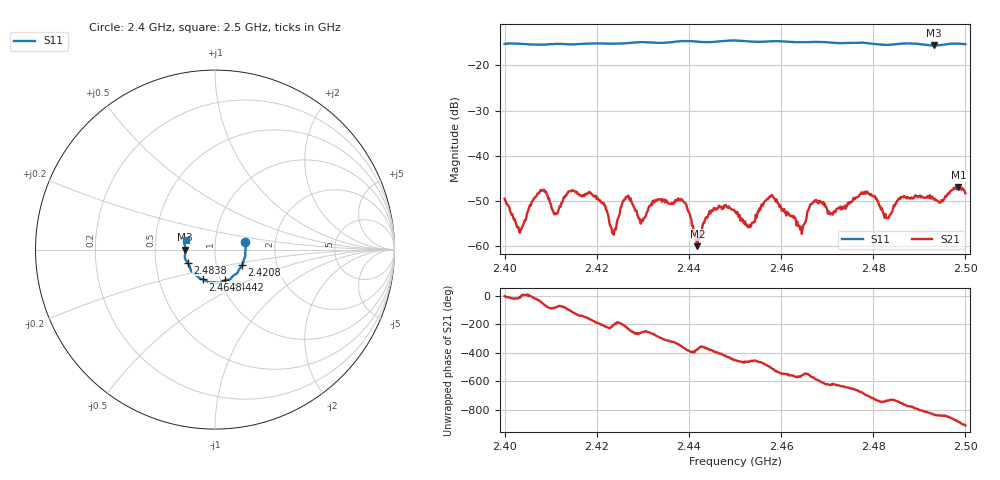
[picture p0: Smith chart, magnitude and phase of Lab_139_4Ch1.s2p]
# Hz S RI R 50
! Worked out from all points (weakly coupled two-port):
!   601 points, 2.4 GHz to 2.5 GHz, reference 50 ohm
!   highest |S21| = -47.01 dB at 2.4985 GHz (marker M1); lowest = -60.0 dB at 2.4418 GHz (marker M2)
!   lowest |S11| = -15.6 dB at 2.4932 GHz (marker M3), VSWR 1.40, Z = 35.8 - j0.082 ohm
!   |S11| at or under -10 dB: start of sweep to end of sweep
!   S12 and S22 are empty: the file has one direction only
!   S11 on the Smith chart (normalised r, x): 2.4 GHz: 1.40, +0.12; 2.4208 GHz: 1.33, -0.24; 2.4442 GHz: 1.05, -0.37; 2.4648 GHz: 0.83, -0.28; 2.4838 GHz: 0.73, -0.11; 2.5 GHz: 0.72, +0.08
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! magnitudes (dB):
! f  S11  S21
! 2.4 GHz  -15.2  -49.5
! 2.4032 GHz  -15.2  -56.8
! 2.408 GHz  -15.4  -47.8
! 2.411 GHz  -15.3  -52.7
! 2.4167 GHz  -15.3  -48.9
! 2.4208 GHz  -15.2  -50.2
! 2.4237 GHz  -15.2  -57.5
! 2.4263 GHz  -15.1  -49.1
! 2.4297 GHz  -14.9  -54.6
! 2.4333 GHz  -15.0  -49.6
! 2.4388 GHz  -14.6  -50.2
! 2.4418 GHz  -14.8  -60.0
! 2.4442 GHz  -14.9  -53.2
! 2.45 GHz  -14.5  -52.4
! 2.458 GHz  -14.7  -48.7
! 2.4648 GHz  -14.9  -55.4
! 2.4667 GHz  -14.8  -50.7
! 2.4833 GHz  -15.5  -53.8
! 2.4838 GHz  -15.4  -52.9
! 2.4932 GHz  -15.6  -49.7
! 2.4985 GHz  -15.2  -47.0
! 2.5 GHz  -15.3  -48.3
